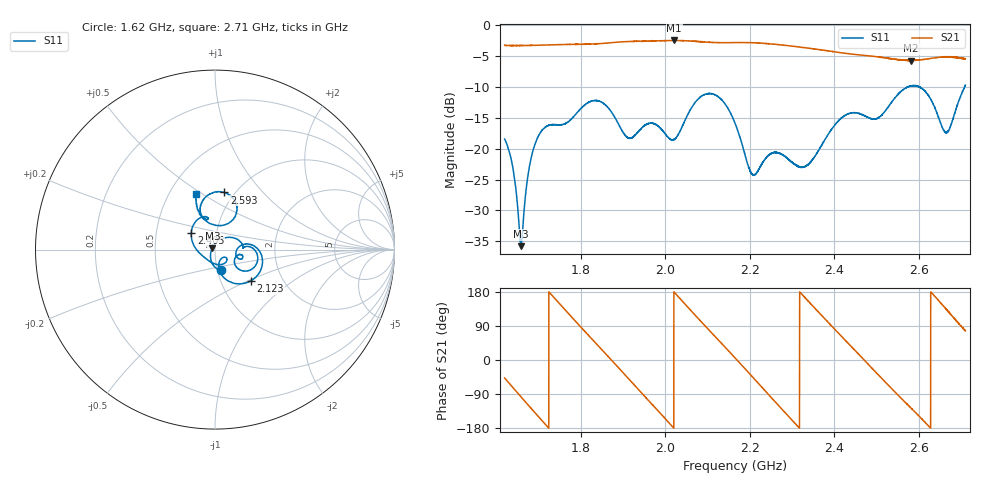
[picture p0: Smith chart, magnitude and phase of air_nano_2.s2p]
#	HZ	S	RI	R	50
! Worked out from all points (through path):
!   5050 points, 1.62 GHz to 2.71 GHz, reference 50 ohm
!   highest |S21| = -2.49 dB at 2.021 GHz (marker M1); lowest = -5.8 dB at 2.582 GHz (marker M2)
!   lowest |S11| = -35.8 dB at 1.659 GHz (marker M3), VSWR 1.03, Z = 48.6 + j0.701 ohm
!   |S11| at or under -10 dB: start of sweep to 2.574 GHz; 2.574528 GHz to 2.574658 GHz (129.8 kHz wide, 0.00504 % of centre); 2.6 GHz to 2.708 GHz (107.8 MHz wide, 4.06 % of centre)
!   S12 and S22 are empty: the file has one direction only
!   S11 on the Smith chart (normalised r, x): 1.62 GHz: 1.04, -0.24; 2.123 GHz: 1.39, -0.52; 2.405 GHz: 0.75, +0.14; 2.593 GHz: 0.90, +0.64; 2.71 GHz: 0.68, +0.47
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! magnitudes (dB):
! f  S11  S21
! 1.62 GHz  -18.4  -3.3
! 1.639 GHz  -23.1  -3.3
! 1.659 GHz  -35.8  -3.3
! 1.678 GHz  -23.1  -3.3
! 1.699 GHz  -18.1  -3.3
! 1.802 GHz  -13.4  -3.1
! 1.851 GHz  -12.6  -3.0
! 1.914 GHz  -18.3  -2.7
! 1.983 GHz  -16.4  -2.6
! 2.021 GHz  -18.5  -2.5
! 2.078 GHz  -12.0  -2.7
! 2.123 GHz  -11.5  -2.8
! 2.165 GHz  -15.9  -2.8
! 2.207 GHz  -24.3  -2.9
! 2.256 GHz  -20.7  -3.1
! 2.347 GHz  -21.9  -3.8
! 2.405 GHz  -15.8  -4.4
! 2.528 GHz  -13.2  -5.4
! 2.582 GHz  -9.9  -5.8
! 2.593 GHz  -9.8  -5.7
! 2.665 GHz  -17.5  -5.1
! 2.71 GHz  -9.7  -5.5
